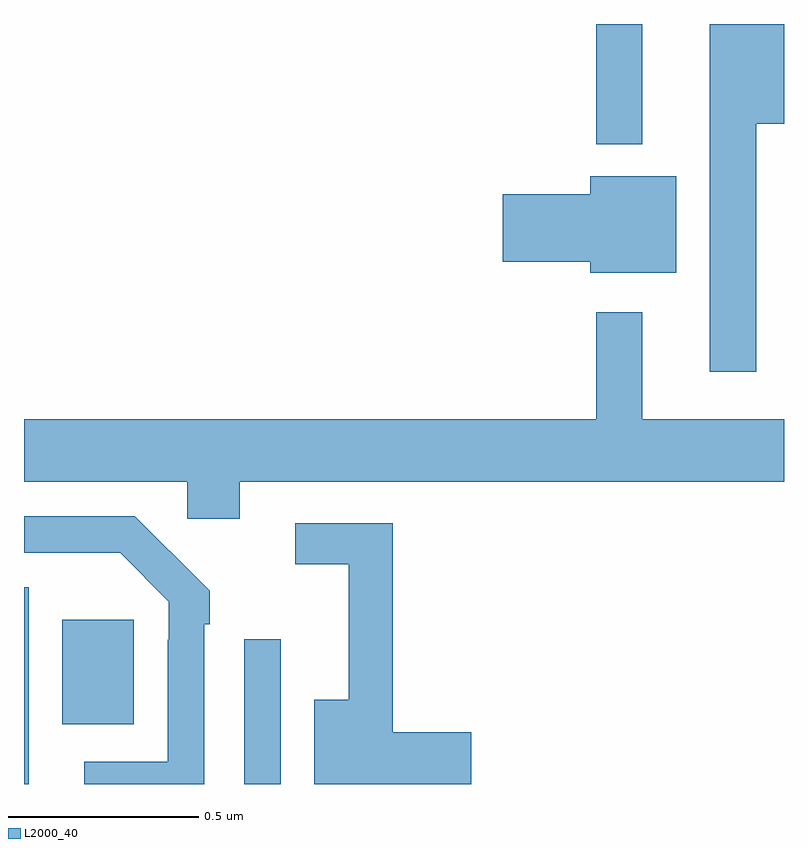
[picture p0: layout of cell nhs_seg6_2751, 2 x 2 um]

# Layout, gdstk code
import gdstk
lib = gdstk.Library(unit=1e-6, precision=1e-09)
def R(c, l, rs):  # rectangles x0, y0, x1, y1
    for r in rs: c.add(gdstk.rectangle(r[:2], r[2:], *l))
def P(c, l, *ps):  # polygons
    for p in ps: c.add(gdstk.Polygon(p, *l))
L2000_40 = (2000, 40)

nhs_seg6_2751 = lib.new_cell('nhs_seg6_2751')
R(nhs_seg6_2751, L2000_40, [(147.579,986.5,147.675,986.881), (147.101,986.657,147.289,986.932), (148.506,988.184,148.627,988.5)])
P(nhs_seg6_2751, L2000_40, [(148.927,988.238),(149,988.238),(149,988.5),(148.805,988.5),(148.805,987.585),(148.927,987.585)],
  [(148.717,988.099),(148.49,988.099),(148.49,988.052),(148.26,988.052),(148.26,987.874),(148.49,987.874),(148.49,987.845),(148.717,987.845)],
  [(147.568,987.296),(149,987.296),(149,987.46),(148.627,987.46),(148.627,987.742),(148.506,987.742),(148.506,987.46),(147,987.46),(147,987.296),(147.429,987.296),(147.429,987.198),(147.568,987.198)],
  [(147.474,986.921),(147.489,986.921),(147.489,987.009),(147.384,987.114),(147.383,987.113),(147.292,987.204),(147,987.204),(147,987.108),(147.253,987.108),(147.381,986.979),(147.381,986.879),(147.378,986.879),(147.378,986.559),(147.159,986.559),(147.159,986.5),(147.474,986.5)],
  [(148.177,986.636),(147.971,986.636),(147.971,987.186),(147.714,987.186),(147.714,987.078),(147.854,987.078),(147.854,986.722),(147.764,986.722),(147.764,986.5),(148.177,986.5)],
  [(147.013,986.561),(147.012,986.561),(147.012,987.018),(147,987.018),(147,986.5),(147.013,986.5)])

lib.write_gds('nhs_seg6_2751.gds')
